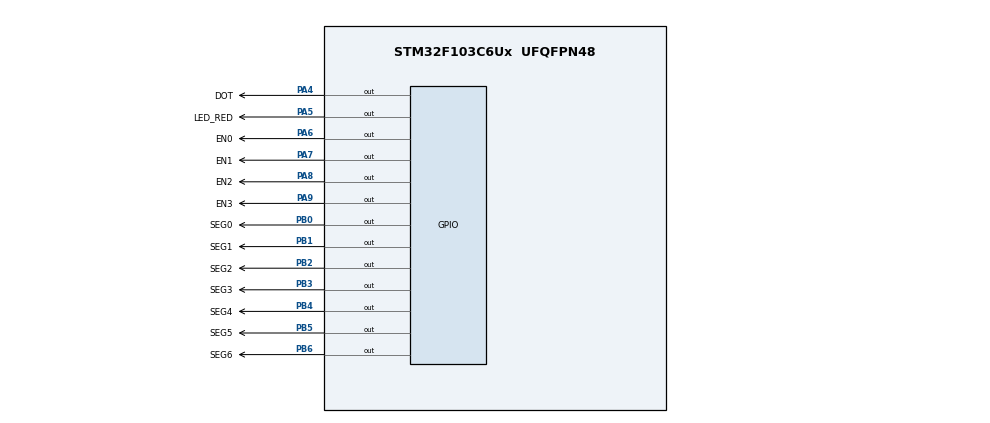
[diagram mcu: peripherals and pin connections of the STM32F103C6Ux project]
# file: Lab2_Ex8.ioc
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Mcu.Family=STM32F1
Mcu.Name=STM32F103C6Ux
Mcu.Package=UFQFPN48
NVIC.PriorityGroup=NVIC_PRIORITYGROUP_4
NVIC.TIM2_IRQn=true\:0\:0\:false\:false\:true\:true\:true
PA4.GPIO_Label=DOT
PA4.Signal=GPIO_Output
PA5.GPIO_Label=LED_RED
PA5.Signal=GPIO_Output
PA6.GPIO_Label=EN0
PA6.Signal=GPIO_Output
PA7.GPIO_Label=EN1
PA7.Signal=GPIO_Output
PA8.GPIO_Label=EN2
PA8.Signal=GPIO_Output
PA9.GPIO_Label=EN3
PA9.Signal=GPIO_Output
PB0.GPIO_Label=SEG0
PB0.Signal=GPIO_Output
PB1.GPIO_Label=SEG1
PB1.Signal=GPIO_Output
PB2.GPIO_Label=SEG2
PB2.Signal=GPIO_Output
PB3.GPIO_Label=SEG3
PB3.Signal=GPIO_Output
PB4.GPIO_Label=SEG4
PB4.Signal=GPIO_Output
PB5.GPIO_Label=SEG5
PB5.Signal=GPIO_Output
PB6.GPIO_Label=SEG6
PB6.Signal=GPIO_Output
ProjectManager.HeapSize=0x200
ProjectManager.StackSize=0x400
ProjectManager.TargetToolchain=STM32CubeIDE
RCC.APB1Freq_Value=8000000
RCC.APB2Freq_Value=8000000
TIM2.Period=9
TIM2.Prescaler=7999
VP_SYS_VS_ND.Mode=No_Debug
VP_TIM2_VS_ClockSourceINT.Mode=Internal
board=custom

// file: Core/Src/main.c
/* USER CODE BEGIN Header */
/**
  ******************************************************************************
  * @file           : main.c
  * @brief          : Main program body
  ******************************************************************************
  * @attention
  *
  * <h2><center>&copy; Copyright (c) 2022 STMicroelectronics.
  * All rights reserved.</center></h2>
  *
  * This software component is licensed by ST under BSD 3-Clause license,
  * the "License"; You may not use this file except in compliance with the
  * License. You may obtain a copy of the License at:
  *                        opensource.org/licenses/BSD-3-Clause
  *
  ******************************************************************************
  */
/* USER CODE END Header */
#include "main.h"

/* USER CODE BEGIN Includes */
#include "software_timer.h"
/* USER CODE END Includes */

TIM_HandleTypeDef htim2;

void SystemClock_Config(void);
static void MX_GPIO_Init(void);
static void MX_TIM2_Init(void);

int main(void)
{

  /* MCU Configuration--------------------------------------------------------*/

  /* Reset of all peripherals, Initializes the Flash interface and the Systick. */
  HAL_Init();

  /* Configure the system clock */
  SystemClock_Config();

  /* Initialize all configured peripherals */
  MX_GPIO_Init();
  MX_TIM2_Init();
  /* USER CODE BEGIN 2 */
  HAL_TIM_Base_Start_IT (& htim2 ) ;
  /* USER CODE END 2 */

  /* Infinite loop */
  /* USER CODE BEGIN WHILE */
  void display7SEG(int num){
      	if(num == 0){
      		HAL_GPIO_WritePin(SEG0_GPIO_Port, SEG0_Pin, RESET);
      		HAL_GPIO_WritePin(SEG1_GPIO_Port, SEG1_Pin, RESET);
      		HAL_GPIO_WritePin(SEG2_GPIO_Port, SEG2_Pin, RESET);
      		HAL_GPIO_WritePin(SEG3_GPIO_Port, SEG3_Pin, RESET);
      		HAL_GPIO_WritePin(SEG4_GPIO_Port, SEG4_Pin, RESET);
      		HAL_GPIO_WritePin(SEG5_GPIO_Port, SEG5_Pin, RESET);
      		HAL_GPIO_WritePin(SEG6_GPIO_Port, SEG6_Pin, SET);
      	}
      	else if(num == 1){
      		HAL_GPIO_WritePin(SEG0_GPIO_Port, SEG0_Pin, SET);
      		HAL_GPIO_WritePin(SEG1_GPIO_Port, SEG1_Pin, RESET);
      		HAL_GPIO_WritePin(SEG2_GPIO_Port, SEG2_Pin, RESET);
      		HAL_GPIO_WritePin(SEG3_GPIO_Port, SEG3_Pin, SET);
      		HAL_GPIO_WritePin(SEG4_GPIO_Port, SEG4_Pin, SET);
      		HAL_GPIO_WritePin(SEG5_GPIO_Port, SEG5_Pin, SET);
      		HAL_GPIO_WritePin(SEG6_GPIO_Port, SEG6_Pin, SET);
      	}
      	else if(num == 2){
      		HAL_GPIO_WritePin(SEG0_GPIO_Port, SEG0_Pin, RESET);
      		HAL_GPIO_WritePin(SEG1_GPIO_Port, SEG1_Pin, RESET);
      		HAL_GPIO_WritePin(SEG2_GPIO_Port, SEG2_Pin, SET);
      		HAL_GPIO_WritePin(SEG3_GPIO_Port, SEG3_Pin, RESET);
      		HAL_GPIO_WritePin(SEG4_GPIO_Port, SEG4_Pin, RESET);
      		HAL_GPIO_WritePin(SEG5_GPIO_Port, SEG5_Pin, SET);
      		HAL_GPIO_WritePin(SEG6_GPIO_Port, SEG6_Pin, RESET);
      	}
      	else if(num == 3){
      		HAL_GPIO_WritePin(SEG0_GPIO_Port, SEG0_Pin, RESET);
      		HAL_GPIO_WritePin(SEG1_GPIO_Port, SEG1_Pin, RESET);
      		HAL_GPIO_WritePin(SEG2_GPIO_Port, SEG2_Pin, RESET);
      		HAL_GPIO_WritePin(SEG3_GPIO_Port, SEG3_Pin, RESET);
      		HAL_GPIO_WritePin(SEG4_GPIO_Port, SEG4_Pin, SET);
      		HAL_GPIO_WritePin(SEG5_GPIO_Port, SEG5_Pin, SET);
      		HAL_GPIO_WritePin(SEG6_GPIO_Port, SEG6_Pin, RESET);
      	}
      	else if(num == 4){
      		HAL_GPIO_WritePin(SEG0_GPIO_Port, SEG0_Pin, SET);
      		HAL_GPIO_WritePin(SEG1_GPIO_Port, SEG1_Pin, RESET);
      		HAL_GPIO_WritePin(SEG2_GPIO_Port, SEG2_Pin, RESET);
      		HAL_GPIO_WritePin(SEG3_GPIO_Port, SEG3_Pin, SET);
      		HAL_GPIO_WritePin(SEG4_GPIO_Port, SEG4_Pin, SET);
      		HAL_GPIO_WritePin(SEG5_GPIO_Port, SEG5_Pin, RESET);
      		HAL_GPIO_WritePin(SEG6_GPIO_Port, SEG6_Pin, RESET);
      	}
      	else if(num == 5){
      		HAL_GPIO_WritePin(SEG0_GPIO_Port, SEG0_Pin, RESET);
      		HAL_GPIO_WritePin(SEG1_GPIO_Port, SEG1_Pin, SET);
      		HAL_GPIO_WritePin(SEG2_GPIO_Port, SEG2_Pin, RESET);
      		HAL_GPIO_WritePin(SEG3_GPIO_Port, SEG3_Pin, RESET);
      		HAL_GPIO_WritePin(SEG4_GPIO_Port, SEG4_Pin, SET);
      		HAL_GPIO_WritePin(SEG5_GPIO_Port, SEG5_Pin, RESET);
      		HAL_GPIO_WritePin(SEG6_GPIO_Port, SEG6_Pin, RESET);
      	}
      	else if(num == 6){
      		HAL_GPIO_WritePin(SEG0_GPIO_Port, SEG0_Pin, RESET);
      		HAL_GPIO_WritePin(SEG1_GPIO_Port, SEG1_Pin, SET);
      		HAL_GPIO_WritePin(SEG2_GPIO_Port, SEG2_Pin, RESET);
      		HAL_GPIO_WritePin(SEG3_GPIO_Port, SEG3_Pin, RESET);
      		HAL_GPIO_WritePin(SEG4_GPIO_Port, SEG4_Pin, RESET);
      		HAL_GPIO_WritePin(SEG5_GPIO_Port, SEG5_Pin, RESET);
      		HAL_GPIO_WritePin(SEG6_GPIO_Port, SEG6_Pin, RESET);
      	}
      	else if(num == 7){
      		HAL_GPIO_WritePin(SEG0_GPIO_Port, SEG0_Pin, RESET);
      		HAL_GPIO_WritePin(SEG1_GPIO_Port, SEG1_Pin, RESET);
      		HAL_GPIO_WritePin(SEG2_GPIO_Port, SEG2_Pin, RESET);
      		HAL_GPIO_WritePin(SEG3_GPIO_Port, SEG3_Pin, SET);
      		HAL_GPIO_WritePin(SEG4_GPIO_Port, SEG4_Pin, SET);
      		HAL_GPIO_WritePin(SEG5_GPIO_Port, SEG5_Pin, SET);
      		HAL_GPIO_WritePin(SEG6_GPIO_Port, SEG6_Pin, SET);
      	}
      	else if(num == 8){
      		HAL_GPIO_WritePin(SEG0_GPIO_Port, SEG0_Pin, RESET);
      		HAL_GPIO_WritePin(SEG1_GPIO_Port, SEG1_Pin, RESET);
      		HAL_GPIO_WritePin(SEG2_GPIO_Port, SEG2_Pin, RESET);
      		HAL_GPIO_WritePin(SEG3_GPIO_Port, SEG3_Pin, RESET);
      		HAL_GPIO_WritePin(SEG4_GPIO_Port, SEG4_Pin, RESET);
      		HAL_GPIO_WritePin(SEG5_GPIO_Port, SEG5_Pin, RESET);
      		HAL_GPIO_WritePin(SEG6_GPIO_Port, SEG6_Pin, RESET);
      	}
      	else if(num == 9){
      		HAL_GPIO_WritePin(SEG0_GPIO_Port, SEG0_Pin, RESET);
      		HAL_GPIO_WritePin(SEG1_GPIO_Port, SEG1_Pin, RESET);
      		HAL_GPIO_WritePin(SEG2_GPIO_Port, SEG2_Pin, RESET);
      		HAL_GPIO_WritePin(SEG3_GPIO_Port, SEG3_Pin, RESET);
      		HAL_GPIO_WritePin(SEG4_GPIO_Port, SEG4_Pin, SET);
      		HAL_GPIO_WritePin(SEG5_GPIO_Port, SEG5_Pin, RESET);
      		HAL_GPIO_WritePin(SEG6_GPIO_Port, SEG6_Pin, RESET);
      	}
      }
    int hour = 15 , minute = 8 , second = 50;

    int led_buffer [4] = {hour/10 , hour%10 , minute/10 , minute%10};

    void update7SEG ( int index ) {
    switch ( index ) {
    case 0:
    // Display the first 7 SEG with led_buffer [0]
    	HAL_GPIO_WritePin(EN0_GPIO_Port, EN0_Pin, RESET);
    	HAL_GPIO_WritePin(EN1_GPIO_Port, EN1_Pin, SET);
    	HAL_GPIO_WritePin(EN2_GPIO_Port, EN2_Pin, SET);
    	HAL_GPIO_WritePin(EN3_GPIO_Port, EN3_Pin, SET);
    	display7SEG(led_buffer[0]);
    break ;
    case 1:
     // Display the second 7 SEG with led_buffer [1]
    	HAL_GPIO_WritePin(EN0_GPIO_Port, EN0_Pin, SET);
    	HAL_GPIO_WritePin(EN1_GPIO_Port, EN1_Pin, RESET);
    	HAL_GPIO_WritePin(EN2_GPIO_Port, EN2_Pin, SET);
    	HAL_GPIO_WritePin(EN3_GPIO_Port, EN3_Pin, SET);
    	display7SEG(led_buffer[1]);
    break ;
    case 2:
     // Display the third 7 SEG with led_buffer [2]
    	HAL_GPIO_WritePin(EN0_GPIO_Port, EN0_Pin, SET);
    	HAL_GPIO_WritePin(EN1_GPIO_Port, EN1_Pin, SET);
    	HAL_GPIO_WritePin(EN2_GPIO_Port, EN2_Pin, RESET);
    	HAL_GPIO_WritePin(EN3_GPIO_Port, EN3_Pin, SET);
    	display7SEG(led_buffer[2]);
    break ;
    case 3:
     // Display the forth 7 SEG with led_buffer [3]
    	HAL_GPIO_WritePin(EN0_GPIO_Port, EN0_Pin, SET);
    	HAL_GPIO_WritePin(EN1_GPIO_Port, EN1_Pin, SET);
    	HAL_GPIO_WritePin(EN2_GPIO_Port, EN2_Pin, SET);
    	HAL_GPIO_WritePin(EN3_GPIO_Port, EN3_Pin, RESET);
    	display7SEG(led_buffer [3]);
    break ;
    default :
    break ;
     }
    }

    void updateClockBuffer(){
  	led_buffer[0] = hour/10;
  	led_buffer[1] = hour%10;
  	led_buffer[2] = minute/10;
  	led_buffer[3] = minute%10;
  	update7SEG(0);
  	HAL_Delay(100);
  	update7SEG(1);
  	HAL_Delay(100);
  	update7SEG(2);
  	HAL_Delay(100);
  	update7SEG(3);
    }

  	setTimer1(1000);
  while (1)
  {
	  if(timer1_flag == 1){
	  second++;
	  if ( second >= 60) {
	  second = 0;
	  minute++;
	  }
	  if( minute >= 60) {
	  minute = 0;
	  hour++;
	  }
	  if( hour >=24) {
	  hour = 0;
	  }

	  updateClockBuffer();
	  HAL_GPIO_TogglePin(DOT_GPIO_Port, DOT_Pin);
	  setTimer1(1000);
	  }

    /* USER CODE END WHILE */

  }
}

void SystemClock_Config(void)
{
  RCC_OscInitTypeDef RCC_OscInitStruct = {0};
  RCC_ClkInitTypeDef RCC_ClkInitStruct = {0};

  /** Initializes the RCC Oscillators according to the specified parameters
  * in the RCC_OscInitTypeDef structure.
  */
  RCC_OscInitStruct.OscillatorType = RCC_OSCILLATORTYPE_HSI;
  RCC_OscInitStruct.HSIState = RCC_HSI_ON;
  RCC_OscInitStruct.HSICalibrationValue = RCC_HSICALIBRATION_DEFAULT;
  RCC_OscInitStruct.PLL.PLLState = RCC_PLL_NONE;
  if (HAL_RCC_OscConfig(&RCC_OscInitStruct) != HAL_OK)
  {
    Error_Handler();
  }
  /** Initializes the CPU, AHB and APB buses clocks
  */
  RCC_ClkInitStruct.ClockType = RCC_CLOCKTYPE_HCLK|RCC_CLOCKTYPE_SYSCLK
                              |RCC_CLOCKTYPE_PCLK1|RCC_CLOCKTYPE_PCLK2;
  RCC_ClkInitStruct.SYSCLKSource = RCC_SYSCLKSOURCE_HSI;
  RCC_ClkInitStruct.AHBCLKDivider = RCC_SYSCLK_DIV1;
  RCC_ClkInitStruct.APB1CLKDivider = RCC_HCLK_DIV1;
  RCC_ClkInitStruct.APB2CLKDivider = RCC_HCLK_DIV1;

  if (HAL_RCC_ClockConfig(&RCC_ClkInitStruct, FLASH_LATENCY_0) != HAL_OK)
  {
    Error_Handler();
  }
}

static void MX_TIM2_Init(void)
{

  TIM_ClockConfigTypeDef sClockSourceConfig = {0};
  TIM_MasterConfigTypeDef sMasterConfig = {0};

  htim2.Instance = TIM2;
  htim2.Init.Prescaler = 7999;
  htim2.Init.CounterMode = TIM_COUNTERMODE_UP;
  htim2.Init.Period = 9;
  htim2.Init.ClockDivision = TIM_CLOCKDIVISION_DIV1;
  htim2.Init.AutoReloadPreload = TIM_AUTORELOAD_PRELOAD_DISABLE;
  if (HAL_TIM_Base_Init(&htim2) != HAL_OK)
  {
    Error_Handler();
  }
  sClockSourceConfig.ClockSource = TIM_CLOCKSOURCE_INTERNAL;
  if (HAL_TIM_ConfigClockSource(&htim2, &sClockSourceConfig) != HAL_OK)
  {
    Error_Handler();
  }
  sMasterConfig.MasterOutputTrigger = TIM_TRGO_RESET;
  sMasterConfig.MasterSlaveMode = TIM_MASTERSLAVEMODE_DISABLE;
  if (HAL_TIMEx_MasterConfigSynchronization(&htim2, &sMasterConfig) != HAL_OK)
  {
    Error_Handler();
  }

}

static void MX_GPIO_Init(void)
{
  GPIO_InitTypeDef GPIO_InitStruct = {0};

  /* GPIO Ports Clock Enable */
  __HAL_RCC_GPIOA_CLK_ENABLE();
  __HAL_RCC_GPIOB_CLK_ENABLE();

  /*Configure GPIO pin Output Level */
  HAL_GPIO_WritePin(GPIOA, DOT_Pin|LED_RED_Pin|EN0_Pin|EN1_Pin
                          |EN2_Pin|EN3_Pin, GPIO_PIN_RESET);

  /*Configure GPIO pin Output Level */
  HAL_GPIO_WritePin(GPIOB, SEG0_Pin|SEG1_Pin|SEG2_Pin|SEG3_Pin
                          |SEG4_Pin|SEG5_Pin|SEG6_Pin, GPIO_PIN_RESET);

  /*Configure GPIO pins : DOT_Pin LED_RED_Pin EN0_Pin EN1_Pin
                           EN2_Pin EN3_Pin */
  GPIO_InitStruct.Pin = DOT_Pin|LED_RED_Pin|EN0_Pin|EN1_Pin
                          |EN2_Pin|EN3_Pin;
  GPIO_InitStruct.Mode = GPIO_MODE_OUTPUT_PP;
  GPIO_InitStruct.Pull = GPIO_NOPULL;
  GPIO_InitStruct.Speed = GPIO_SPEED_FREQ_LOW;
  HAL_GPIO_Init(GPIOA, &GPIO_InitStruct);

  /*Configure GPIO pins : SEG0_Pin SEG1_Pin SEG2_Pin SEG3_Pin
                           SEG4_Pin SEG5_Pin SEG6_Pin */
  GPIO_InitStruct.Pin = SEG0_Pin|SEG1_Pin|SEG2_Pin|SEG3_Pin
                          |SEG4_Pin|SEG5_Pin|SEG6_Pin;
  GPIO_InitStruct.Mode = GPIO_MODE_OUTPUT_PP;
  GPIO_InitStruct.Pull = GPIO_NOPULL;
  GPIO_InitStruct.Speed = GPIO_SPEED_FREQ_LOW;
  HAL_GPIO_Init(GPIOB, &GPIO_InitStruct);

}

/* USER CODE BEGIN 4 */
void HAL_TIM_PeriodElapsedCallback ( TIM_HandleTypeDef * htim ){
timerRun();
}
/* USER CODE END 4 */

void Error_Handler(void)
{
  __disable_irq();
  while (1)
  {
  }
}

/************************ (C) COPYRIGHT STMicroelectronics *****END OF FILE****/
